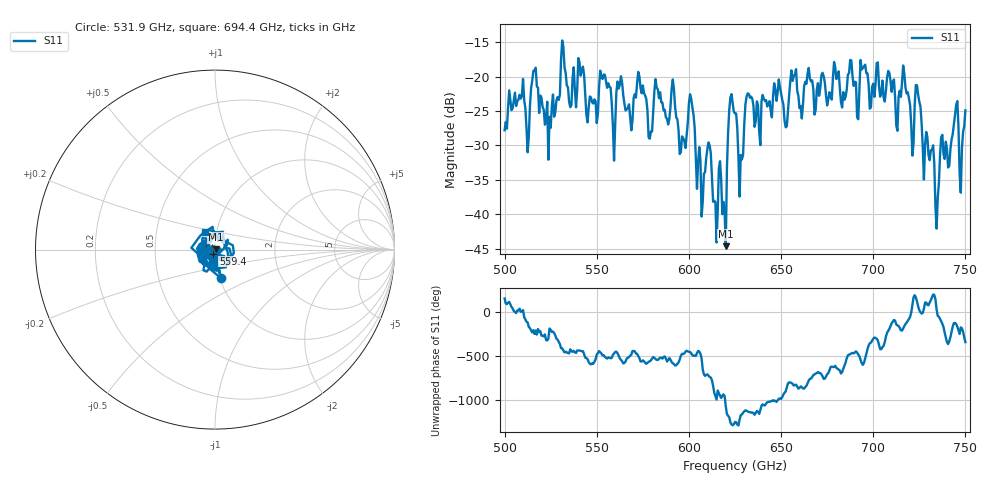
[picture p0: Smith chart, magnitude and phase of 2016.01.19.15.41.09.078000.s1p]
!Created with skrf (http://scikit-rf.org).
# GHz S RI R 50.0
!freq ReS11 ImS11
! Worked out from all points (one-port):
!   401 points, 500 GHz to 750 GHz, reference 50 ohm
!   lowest |S11| = -44.7 dB at 620 GHz (marker M1), VSWR 1.01, Z = 50.6 + j0.092 ohm
!   |S11| at or under -10 dB: start of sweep to end of sweep
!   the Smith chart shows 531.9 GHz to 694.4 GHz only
!   S11 on the Smith chart (normalised r, x): 531.9 GHz: 1.02, -0.34; 559.4 GHz: 0.98, -0.04; 694.4 GHz: 0.87, +0.18
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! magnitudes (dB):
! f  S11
! 500 GHz  -27.8
! 508.8 GHz  -23.2
! 512.5 GHz  -31.0
! 516.2 GHz  -19.1
! 523.8 GHz  -32.1
! 531.2 GHz  -14.7
! 531.9 GHz  -15.7
! 535 GHz  -23.7
! 559.4 GHz  -32.2
! 562.5 GHz  -21.2
! 593.8 GHz  -26.2
! 601.2 GHz  -23.2
! 607.5 GHz  -38.2
! 610.6 GHz  -29.6
! 614.4 GHz  -38.3
! 620 GHz  -44.7
! 622.5 GHz  -23.0
! 625 GHz  -25.4
! 628.1 GHz  -31.4
! 631.9 GHz  -22.4
! 652.5 GHz  -27.4
! 656.2 GHz  -20.6
! 687.5 GHz  -17.6
! 694.4 GHz  -18.7
! 718.8 GHz  -22.3
! 724.4 GHz  -22.7
! 734.4 GHz  -42.1
! 750 GHz  -24.9
